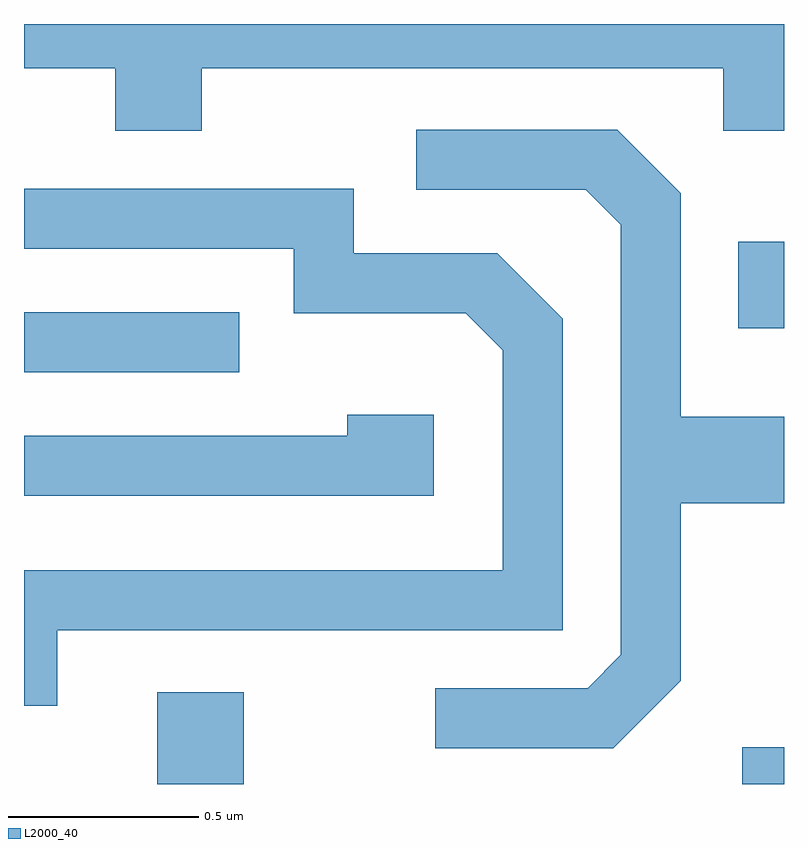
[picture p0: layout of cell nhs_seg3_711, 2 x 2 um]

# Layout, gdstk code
import gdstk
lib = gdstk.Library(unit=1e-6, precision=1e-09)
def R(c, l, rs):  # rectangles x0, y0, x1, y1
    for r in rs: c.add(gdstk.rectangle(r[:2], r[2:], *l))
def P(c, l, *ps):  # polygons
    for p in ps: c.add(gdstk.Polygon(p, *l))
L2000_40 = (2000, 40)

nhs_seg3_711 = lib.new_cell('nhs_seg3_711')
R(nhs_seg3_711, L2000_40, [(190.961,1141.892,191.189,1142.134), (192.501,1141.892,192.611,1141.989), (190.611,1142.976,191.178,1143.134), (192.491,1143.091,192.611,1143.319)])
P(nhs_seg3_711, L2000_40, [(191.079,1143.776),(192.451,1143.776),(192.451,1143.611),(192.611,1143.611),(192.611,1143.892),(190.611,1143.892),(190.611,1143.776),(190.851,1143.776),(190.851,1143.611),(191.079,1143.611)],
  [(192.339,1142.164),(192.339,1142.631),(192.611,1142.631),(192.611,1142.859),(192.339,1142.859),(192.339,1143.447),(192.172,1143.614),(191.643,1143.614),(191.643,1143.456),(192.089,1143.456),(192.181,1143.364),(192.181,1142.232),(192.094,1142.144),(191.693,1142.144),(191.693,1141.986),(192.162,1141.986)],
  [(190.699,1142.296),(192.029,1142.296),(192.029,1143.117),(191.857,1143.289),(191.479,1143.289),(191.479,1143.459),(190.611,1143.459),(190.611,1143.301),(191.321,1143.301),(191.321,1143.131),(191.774,1143.131),(191.871,1143.034),(191.871,1142.454),(190.611,1142.454),(190.611,1142.098),(190.699,1142.098)],
  [(191.689,1142.864),(191.461,1142.864),(191.461,1142.809),(190.611,1142.809),(190.611,1142.651),(191.689,1142.651)])

lib.write_gds('nhs_seg3_711.gds')
